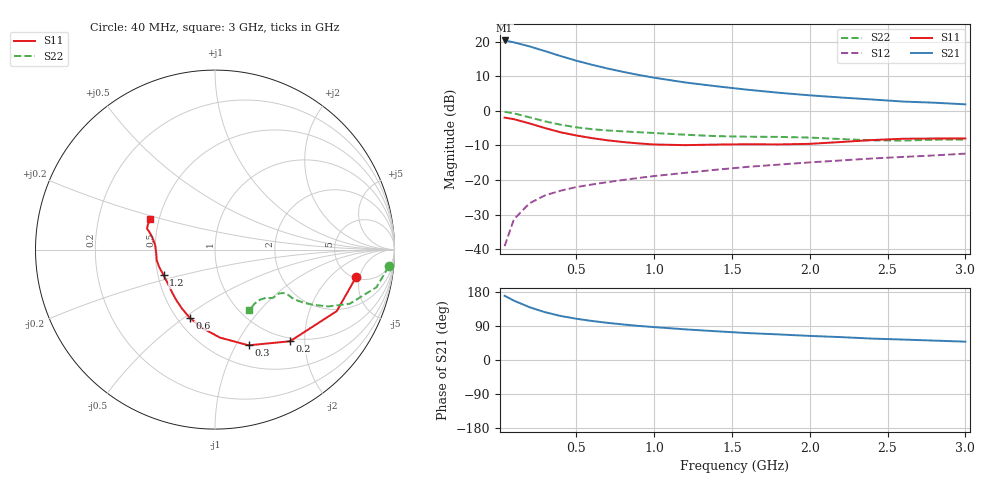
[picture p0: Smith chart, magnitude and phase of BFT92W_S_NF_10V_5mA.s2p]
! Filename:  BFT92WG.S2P  Version:  4.0
! Philips part #: BFT92W  Date: Jun 1994
! Bias condition: Vce=10V, Ic=5mA
#  MHz  S  MA  R  50
! Freq  S11  S21  S12  S22  !GUM [dB]
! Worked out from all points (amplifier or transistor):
!   21 points, 40 MHz to 3 GHz, reference 50 ohm
!   highest |S21| = 20.4 dB at 40 MHz (marker M1)
!   |S21| within 3 dB of that: start of sweep to 293.3 MHz
!   unconditionally stable (mu >= 1): 896 MHz to end of sweep
!   at 300 MHz: K = 0.52, MSG = 20.9 dB, |S12| = -24.4 dB
!   at 1 GHz: K = 1.05, MAG = 12.9 dB, |S12| = -18.9 dB
!   at 3 GHz: K = 1.19, MAG = 4.5 dB, |S12| = -12.4 dB
!   lowest NFmin = 2.50 dB at 500 MHz
!   S11 on the Smith chart (normalised r, x): 40 MHz: 5.19, -4.43; 200 MHz: 0.94, -1.70; 300 MHz: 0.72, -1.13; 600 MHz: 0.58, -0.52; 1.2 GHz: 0.54, -0.17; 3 GHz: 0.45, +0.18
40  0.801 -11.0  10.51 169.5  0.011 83.0  0.973 -5.5
100  0.76 -26.8  9.857 156.6  0.027 74.7  0.924 -13.1
200  0.66 -50.7  8.622 139.3  0.046 64.8  0.809 -21.9
300  0.565 -70.7  7.363 126.1  0.06 59.0  0.707 -26.6
400  0.491 -86.8  6.243 116.2  0.07 56.4  0.632 -29.2
500  0.442 -99.4  5.357 108.9  0.079 55.7  0.58 -30.8
600  0.405 -110.5  4.68 103.0  0.086 55.9  0.545 -31.6
700  0.376 -119.4  4.131 98.1  0.093 56.4  0.522 -32.0
800  0.355 -127.3  3.692 93.8  0.1 57.1  0.507 -32.1
900  0.339 -134.5  3.329 90.0  0.107 57.7  0.493 -31.9
1000  0.327 -141.2  3.035 86.8  0.114 58.3  0.48 -31.8
1200  0.32 -153.7  2.589 80.9  0.127 59.5  0.453 -32.3
1400  0.326 -163.0  2.282 75.8  0.141 60.5  0.432 -34.4
1600  0.33 -169.7  2.033 71.1  0.155 61.0  0.424 -37.6
1800  0.328 -176.1  1.838 67.5  0.167 62.0  0.421 -39.6
2000  0.334 175.9  1.686 63.6  0.18 62.7  0.412 -40.9
2200  0.355 169.1  1.567 60.4  0.192 63.4  0.392 -43.2
2400  0.379 164.9  1.467 56.5  0.205 63.8  0.375 -48.1
2600  0.396 162.9  1.369 53.9  0.216 64.1  0.373 -53.8
2800  0.399 159.9  1.318 51.2  0.227 65.0  0.383 -57.9
3000  0.4 155.2  1.248 48.4  0.241 65.6  0.385 -60.4
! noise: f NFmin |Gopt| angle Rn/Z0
500  2.5  0.35  35.5  0.56
1000  3  0.35  64.3  0.65
